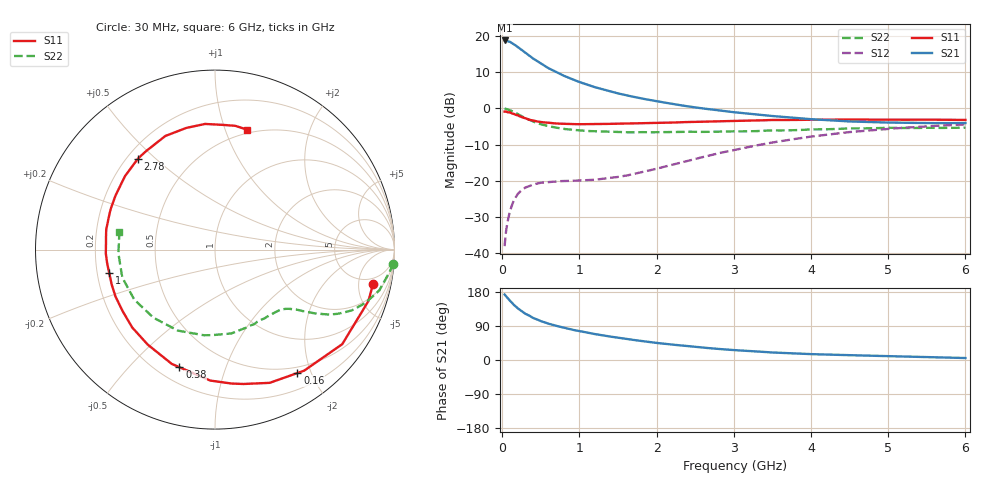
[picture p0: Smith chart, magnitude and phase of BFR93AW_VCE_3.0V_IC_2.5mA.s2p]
! Infineon Technologies  Discrete & RF Semiconductors
! BFR93AW
! VCE =  3.0 V,  IC =  2.5 mA
! Common Emitter S-Parameters:  Nov 2015
# GHz  S  MA  R  50
!  f  S11  S21  S12  S22
! GHz  MAG  ANG  MAG  ANG  MAG  ANG  MAG  ANG
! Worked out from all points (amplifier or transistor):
!   206 points, 30 MHz to 6 GHz, reference 50 ohm
!   highest |S21| = 18.7 dB at 30 MHz (marker M1)
!   |S21| within 3 dB of that: start of sweep to 275.1 MHz
!   unconditionally stable (mu >= 1): 1.151 GHz to 2.375 GHz
!   at 200 MHz: K = 0.19, MSG = 20.3 dB, |S12| = -23.7 dB
!   at 1.56 GHz: K = 1.15, MAG = 9.0 dB, |S12| = -18.7 dB
!   at 6 GHz: K = 0.99, MSG = 0.2 dB, |S12| = -4.4 dB
!   S11 on the Smith chart (normalised r, x): 30 MHz: 3.76, -7.60; 160 MHz: 0.41, -1.80; 380 MHz: 0.28, -0.70; 1 GHz: 0.25, -0.10; 2.78 GHz: 0.24, +0.44; 6 GHz: 0.47, +1.19
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0.03  0.9016 -12.1  8.652 172.7  0.0125 81.2  0.9956 -4.5
0.05  0.9013 -18.6  8.592 167.7  0.0206 79.6  0.9809 -7.3
0.1  0.8833 -36.6  8.287 156.3  0.0382 70.7  0.943 -14.0
0.15  0.8377 -53.6  7.683 145.4  0.0538 61.9  0.8898 -19.5
0.16  0.8267 -56.3  7.545 143.7  0.0561 60.5  0.8784 -20.3
0.2  0.8024 -67.7  7.064 136.5  0.0656 55.7  0.835 -23.9
0.26  0.7518 -83.0  6.3 127.3  0.0754 49.2  0.77 -27.7
0.3  0.7301 -92.1  5.851 121.9  0.0808 46.1  0.7328 -29.6
0.38  0.6846 -106.8  5.049 113.5  0.0872 41.2  0.6717 -32.0
0.4  0.6808 -110.7  4.869 111.0  0.0889 40.1  0.6566 -32.7
0.5  0.6486 -125.3  4.149 102.5  0.0939 36.6  0.6023 -34.8
0.6  0.6333 -136.7  3.576 95.7  0.0961 34.8  0.5664 -36.2
0.8  0.613 -154.8  2.809 84.8  0.0994 34.6  0.519 -39.4
1  0.6037 -167.7  2.305 76.0  0.101 37.3  0.4962 -42.5
1.04  0.6039 -169.9  2.23 74.5  0.1014 38.1  0.4923 -43.5
1.5  0.6162 169.6  1.607 58.7  0.113 50.0  0.4723 -54.1
2.02  0.6308 151.5  1.242 44.6  0.1485 61.6  0.4682 -68.4
2.78  0.6632 130.6  0.945 29.6  0.2368 65.9  0.4762 -91.1
3.1  0.6716 122.7  0.863 25.0  0.2792 64.0  0.4807 -100.9
4.1  0.6963 101.5  0.698 15.0  0.4191 52.2  0.5118 -135.5
5.1  0.6963 85.7  0.634 9.7  0.5301 37.3  0.5366 -166.2
6  0.6916 74.9  0.626 5.2  0.601 24.9  0.5414 169.6
